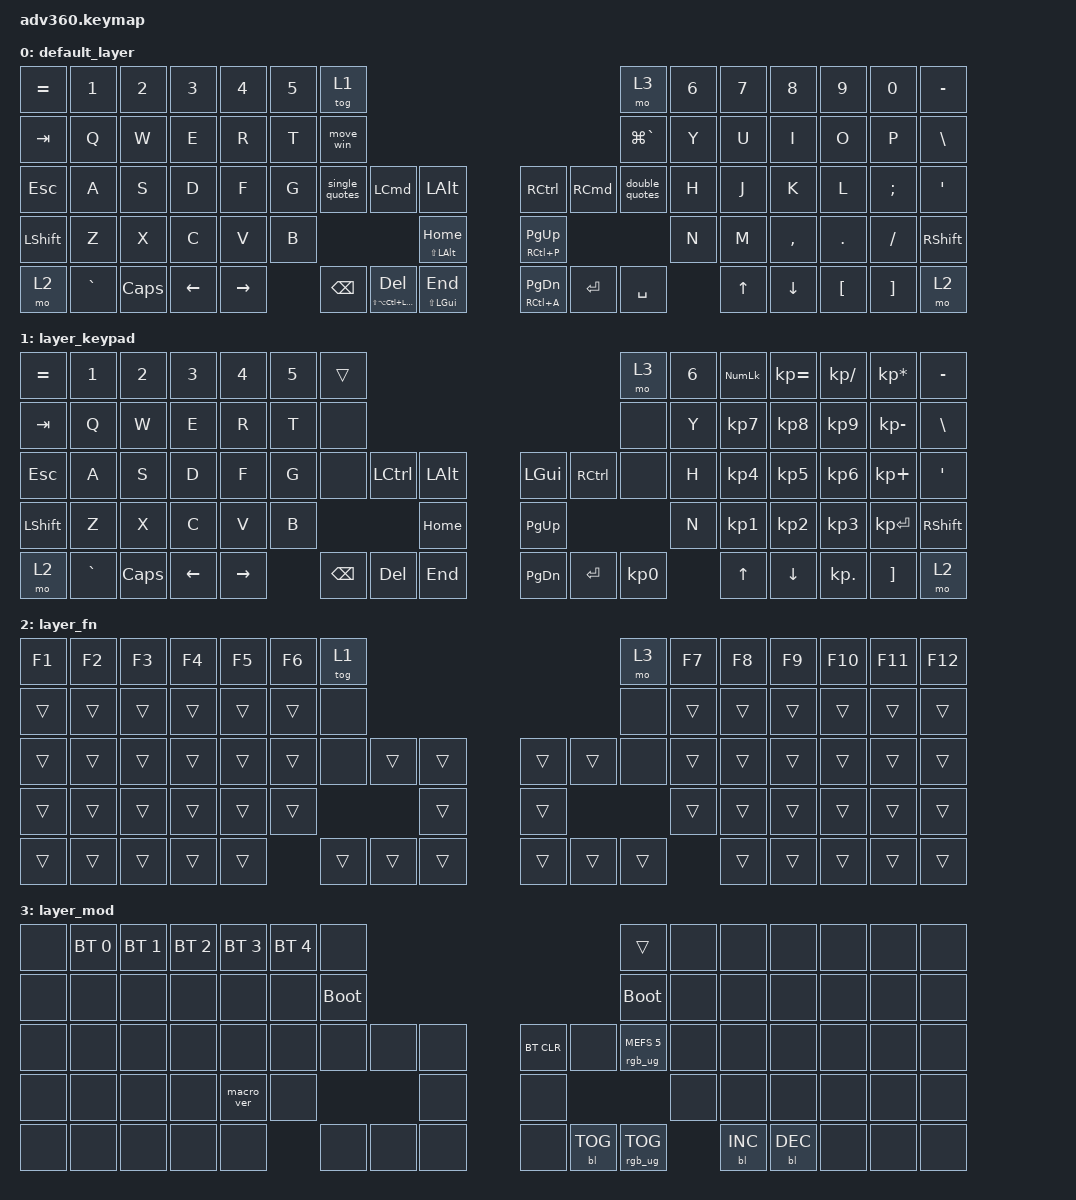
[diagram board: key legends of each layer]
/*
 * Copyright (c) 2020 The ZMK Contributors
 *
 * SPDX-License-Identifier: MIT
 */
/* THIS FILE WAS GENERATED!
 *
 * This file was generated automatically. You may or may not want to
 * edit it directly.
 */

#include <behaviors.dtsi>
#include <dt-bindings/zmk/backlight.h>
#include <dt-bindings/zmk/bt.h>
#include <dt-bindings/zmk/keys.h>
#include <dt-bindings/zmk/rgb.h>

#define HYP(key) LS(LC(LA(LG(key))))

#define HYPER    LS(LC(LA(LGUI)))

/ {
    behaviors {
        #include "macros.dtsi"
    #include "version.dtsi"

        hm: homerow_mods {
            compatible = "zmk,behavior-hold-tap";
            label = "HOMEROW_MODS";
            #binding-cells = <2>;
            tapping-term-ms = <200>;
            quick_tap_ms = <175>;
            flavor = "tap-preferred";
            bindings = <&kp>, <&kp>;
        };
    };

    macros {
        move_win: move_win {
            compatible = "zmk,behavior-macro";
            #binding-cells = <0>;
            bindings = <&kp LS(LA(LC(LG(W)))) &kp Y>;
            label = "MOVE_WIN";
        };

        single_quotes: single_quotes {
            compatible = "zmk,behavior-macro";
            #binding-cells = <0>;
            bindings = <&kp SINGLE_QUOTE &kp SINGLE_QUOTE &kp LEFT_ARROW>;
            label = "SINGLE_QUOTES";
        };

        double_quotes: double_quotes {
            compatible = "zmk,behavior-macro";
            #binding-cells = <0>;
            bindings = <&kp DOUBLE_QUOTES &kp DOUBLE_QUOTES &kp LEFT_ARROW>;
            label = "DOUBLE_QUOTES";
        };
    };

    keymap {
        compatible = "zmk,keymap";

        default_layer {
            bindings = <
&kp EQUAL  &kp N1     &kp N2    &kp N3    &kp N4     &kp N5  &tog 1                                                                                                 &mo 3           &kp N6  &kp N7  &kp N8     &kp N9    &kp N0    &kp MINUS
&kp TAB    &kp Q      &kp W     &kp E     &kp R      &kp T   &move_win                                                                                              &kp LG(GRAVE)   &kp Y   &kp U   &kp I      &kp O     &kp P     &kp BSLH
&kp ESC    &kp A      &kp S     &kp D     &kp F      &kp G   &single_quotes  &kp LCMD                      &kp LALT                   &kp RIGHT_CONTROL  &kp RCMD   &double_quotes  &kp H   &kp J   &kp K      &kp L     &kp SEMI  &kp SQT
&kp LSHFT  &kp Z      &kp X     &kp C     &kp V      &kp B                                                 &hm LS(LEFT_ALT) HOME      &hm RC(P) PAGE_UP                             &kp N   &kp M   &kp COMMA  &kp DOT   &kp FSLH  &kp RSHFT
&mo 2      &kp GRAVE  &kp CAPS  &kp LEFT  &kp RIGHT          &kp BSPC        &hm LS(LA(LC(LEFT_GUI))) DEL  &hm LS(LEFT_GUI) END       &hm RC(A) PG_DN    &kp ENTER  &kp SPACE               &kp UP  &kp DOWN   &kp LBKT  &kp RBKT  &mo 2
            >;
        };

        layer_keypad {
            bindings = <
&kp EQUAL  &kp N1     &kp N2    &kp N3    &kp N4     &kp N5  &trans                                                   &mo 3      &kp N6  &kp KP_NUM  &kp KP_EQUAL  &kp KP_DIVIDE  &kp KP_MULTIPLY  &kp MINUS
&kp TAB    &kp Q      &kp W     &kp E     &kp R      &kp T   &none                                                    &none      &kp Y   &kp KP_N7   &kp KP_N8     &kp KP_N9      &kp KP_MINUS     &kp BSLH
&kp ESC    &kp A      &kp S     &kp D     &kp F      &kp G   &none     &kp LCTRL  &kp LALT      &kp LGUI   &kp RCTRL  &none      &kp H   &kp KP_N4   &kp KP_N5     &kp KP_N6      &kp KP_PLUS      &kp SQT
&kp LSHFT  &kp Z      &kp X     &kp C     &kp V      &kp B                        &kp HOME      &kp PG_UP                        &kp N   &kp KP_N1   &kp KP_N2     &kp KP_N3      &kp KP_ENTER     &kp RSHFT
&mo 2      &kp GRAVE  &kp CAPS  &kp LEFT  &kp RIGHT          &kp BSPC  &kp DEL    &kp END       &kp PG_DN  &kp ENTER  &kp KP_N0          &kp UP      &kp DOWN      &kp KP_DOT     &kp RBKT         &mo 2
            >;
        };

        layer_fn {
            bindings = <
&kp F1  &kp F2  &kp F3  &kp F4  &kp F5  &kp F6  &tog 1                                      &mo 3   &kp F7  &kp F8  &kp F9  &kp F10  &kp F11  &kp F12
&trans  &trans  &trans  &trans  &trans  &trans  &none                                       &none   &trans  &trans  &trans  &trans   &trans   &trans
&trans  &trans  &trans  &trans  &trans  &trans  &none   &trans  &trans      &trans  &trans  &none   &trans  &trans  &trans  &trans   &trans   &trans
&trans  &trans  &trans  &trans  &trans  &trans                  &trans      &trans                  &trans  &trans  &trans  &trans   &trans   &trans
&trans  &trans  &trans  &trans  &trans          &trans  &trans  &trans      &trans  &trans  &trans          &trans  &trans  &trans   &trans   &trans
            >;
        };

        layer_mod {
            bindings = <
&none  &bt BT_SEL 0  &bt BT_SEL 1  &bt BT_SEL 2  &bt BT_SEL 3  &bt BT_SEL 4  &none                                                  &trans                  &none  &none       &none       &none  &none  &none
&none  &none         &none         &none         &none         &none         &bootloader                                            &bootloader             &none  &none       &none       &none  &none  &none
&none  &none         &none         &none         &none         &none         &none        &none  &none      &bt BT_CLR  &none       &rgb_ug RGB_MEFS_CMD 5  &none  &none       &none       &none  &none  &none
&none  &none         &none         &none         &macro_ver    &none                             &none      &none                                           &none  &none       &none       &none  &none  &none
&none  &none         &none         &none         &none                       &none        &none  &none      &none       &bl BL_TOG  &rgb_ug RGB_TOG                &bl BL_INC  &bl BL_DEC  &none  &none  &none
            >;
        };
    };
};
